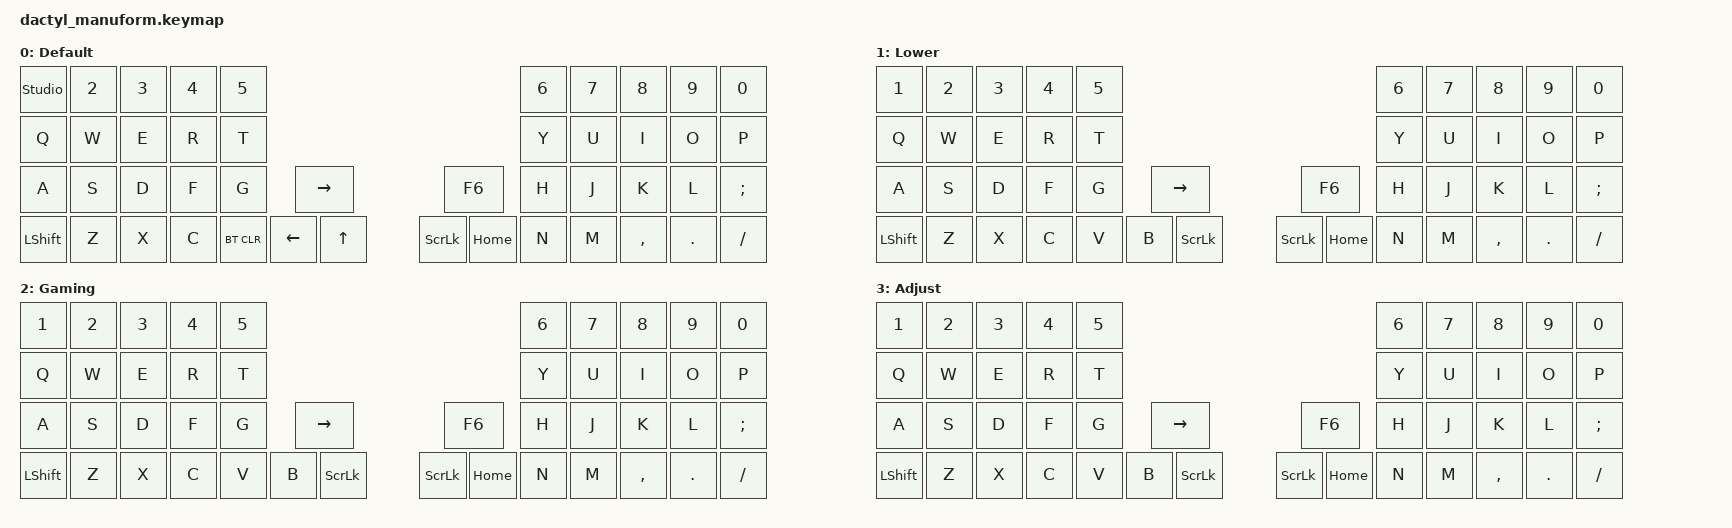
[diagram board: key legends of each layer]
#include <behaviors.dtsi>
#include <dt-bindings/zmk/keys.h>
#include <dt-bindings/zmk/bt.h>
#include <dt-bindings/zmk/outputs.h>

#define DEFAULT 0
#define LOWER   1
#define RAISE   2
#define ADJUST  3





/ {
    keymap {
        compatible = "zmk,keymap";
        default_layer {
            display-name = "Default";
            bindings = <
           &studio_unlock    &kp N2   &kp N3    &kp N4    &kp N5                                                     &kp N6    &kp N7    &kp N8    &kp N9    &kp N0    
           &kp Q     &kp W    &kp E     &kp R     &kp T                                                              &kp Y     &kp U     &kp I     &kp O     &kp P    
           &kp A     &kp S    &kp D     &kp F     &kp G  &kp RIGHT                                          &kp F6   &kp H     &kp J     &kp K     &kp L     &kp SEMI 
           &kp LSHFT &kp Z    &kp X     &kp C     &bt BT_CLR  &kp LEFT    &kp UP           &kp SLCK &kp HOME &kp N     &kp M     &kp COMMA &kp DOT   &kp FSLH 
   
                                                         
            >;
        };
        lower_layer {
            display-name = "Lower";
            bindings = <                 
           &kp N1    &kp N2   &kp N3    &kp N4    &kp N5                                                     &kp N6    &kp N7    &kp N8    &kp N9    &kp N0    
           &kp Q     &kp W    &kp E     &kp R     &kp T                                                      &kp Y     &kp U     &kp I     &kp O     &kp P    
           &kp A     &kp S    &kp D     &kp F     &kp G  &kp RIGHT                                  &kp F6   &kp H     &kp J     &kp K     &kp L     &kp SEMI 
           &kp LSHFT &kp Z    &kp X     &kp C     &kp V  &kp B  &kp SLCK                    &kp SLCK &kp HOME &kp N     &kp M     &kp COMMA &kp DOT   &kp FSLH 
            >;       };

        raise_layer {
            display-name = "Gaming";
            bindings = <
           &kp N1    &kp N2   &kp N3    &kp N4    &kp N5                                                     &kp N6    &kp N7    &kp N8    &kp N9    &kp N0    
           &kp Q     &kp W    &kp E     &kp R     &kp T                                                      &kp Y     &kp U     &kp I     &kp O     &kp P    
           &kp A     &kp S    &kp D     &kp F     &kp G  &kp RIGHT                                  &kp F6   &kp H     &kp J     &kp K     &kp L     &kp SEMI 
           &kp LSHFT &kp Z    &kp X     &kp C     &kp V  &kp B  &kp SLCK                    &kp SLCK &kp HOME &kp N     &kp M     &kp COMMA &kp DOT   &kp FSLH 
            >;
        };

        
        adjust_layer {
            display-name = "Adjust";
            bindings = <
           &kp N1    &kp N2   &kp N3    &kp N4    &kp N5                                                     &kp N6    &kp N7    &kp N8    &kp N9    &kp N0    
           &kp Q     &kp W    &kp E     &kp R     &kp T                                                      &kp Y     &kp U     &kp I     &kp O     &kp P    
           &kp A     &kp S    &kp D     &kp F     &kp G  &kp RIGHT                                  &kp F6   &kp H     &kp J     &kp K     &kp L     &kp SEMI 
           &kp LSHFT &kp Z    &kp X     &kp C     &kp V  &kp B  &kp SLCK                    &kp SLCK &kp HOME &kp N     &kp M     &kp COMMA &kp DOT   &kp FSLH 
            >;
        };
    };
};
